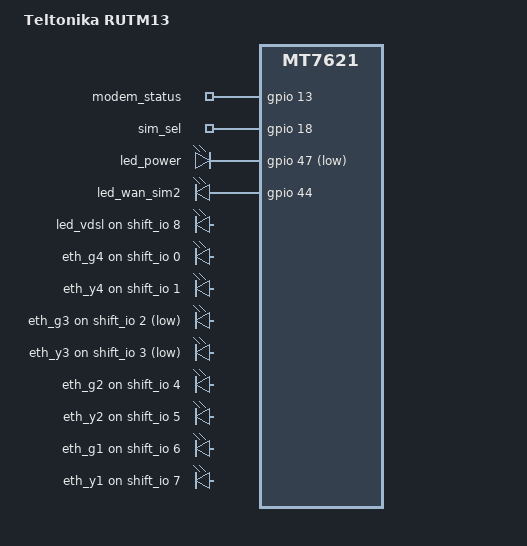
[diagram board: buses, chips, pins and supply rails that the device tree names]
#include "common-mt7621/rutm.dtsi"
#include "common-mt7621/shiftreg.dtsi"
#include "common-mt7621/leds/wan.dtsi"
#include "common-mt7621/modem/4g.dtsi"

// PWR, RST |G47|G10|
// IN, OUT  |G7|G8|
// SR CTRL  |G5|G9|G11|G12|
// WAN      |G41|G44|G45|G42|
// ETH      |S0-S7|
// 4G		|G13|G14|G16|G18|S9-S15|
// VDSL     |S8|
/ {
	model = "Teltonika RUTM13";

	ext_io {
		shift_io: shift_io@0 {
			enable-gpios = <&gpio 12 GPIO_ACTIVE_LOW>;
		};
	};

	gpio-export {
		compatible = "gpio-export";
		#size-cells = <0>;

		gpio_modem_status {
			gpio-export,name = "modem_status";
			gpio-export,input = <0>;
			gpios = <&gpio 13 GPIO_ACTIVE_HIGH>;
		};

		gpio_sim_select {
			gpio-export,name = "sim_sel";
			gpio-export,output = <0>;
			gpios = <&gpio 18 GPIO_ACTIVE_HIGH>;
		};
	};

	leds {
		led_power {
			gpios = <&gpio 47 GPIO_ACTIVE_LOW>;
		};

		led_wan_sim2 {
			gpios = <&gpio 44 GPIO_ACTIVE_HIGH>;
		};

		led_vdsl {
			label = "led_vdsl";
			gpios = <&shift_io 8 GPIO_ACTIVE_HIGH>;
		};

		/delete-node/ led_gen_2;

		led_eth_g4 {
			label = "eth_g4";
			gpios = <&shift_io 0 GPIO_ACTIVE_HIGH>;
		};

		led_eth_y4 {
			label = "eth_y4";
			gpios = <&shift_io 1 GPIO_ACTIVE_HIGH>;
		};

		led_eth_g3 {
			label = "eth_g3";
			gpios = <&shift_io 2 GPIO_ACTIVE_LOW>;
		};

		led_eth_y3 {
			label = "eth_y3";
			gpios = <&shift_io 3 GPIO_ACTIVE_LOW>;
		};

		led_eth_g2 {
			label = "eth_g2";
			gpios = <&shift_io 4 GPIO_ACTIVE_HIGH>;
		};

		led_eth_y2 {
			label = "eth_y2";
			gpios = <&shift_io 5 GPIO_ACTIVE_HIGH>;
		};

		led_eth_g1 {
			label = "eth_g1";
			gpios = <&shift_io 6 GPIO_ACTIVE_HIGH>;
		};

		led_eth_y1 {
			label = "eth_y1";
			gpios = <&shift_io 7 GPIO_ACTIVE_HIGH>;
		};
	};

	tlt_gpios {
		ioman {
			GPIO_8 {
				line_name = "GPIO_OUT_1";
			};
			GPIO_7 {
				line_name = "GPIO_IN_1";
				active_low;
			};
		};

		misc {
			GPIO_18 {
				line_name = "GPIO_SIM_SELECT";
			};
		};
	};
};

&switch0 {
	ports {
		port@1 {
			status = "okay";
			label = "lan1";
		};

		port@2 {
			status = "okay";
			label = "lan2";
		};

		port@3 {
			status = "okay";
			label = "lan3";
		};
	};
};

&mnfinfo {
	sim_cfg {
		default = "2111010_2112010";
	};
};
